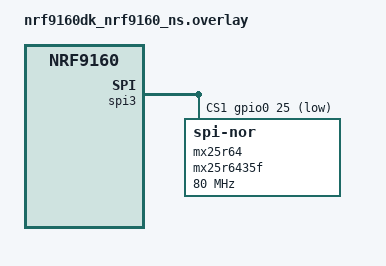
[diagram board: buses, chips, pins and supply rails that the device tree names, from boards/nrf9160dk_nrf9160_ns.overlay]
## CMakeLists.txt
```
#
# Copyright (c) 2021 Nordic Semiconductor ASA
#
# SPDX-License-Identifier: LicenseRef-Nordic-5-Clause
#

cmake_minimum_required(VERSION 3.13.1)

find_package(Zephyr REQUIRED HINTS $ENV{ZEPHYR_BASE})
project(full_modem_update)

# NORDIC SDK APP START
target_sources(app PRIVATE src/main.c)
target_sources(app PRIVATE ../common/src/update.c)
target_include_directories(app PRIVATE ../common/include)
# NORDIC SDK APP END
```

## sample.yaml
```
sample:
  name: HTTP full modem update sample
tests:
  sample.nrf9160.http_update.full_modem_update:
    build_only: true
    integration_platforms:
      - nrf9160dk_nrf9160_ns
    platform_allow: nrf9160dk_nrf9160_ns
    tags: ci_build
```

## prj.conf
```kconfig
#
# Copyright (c) 2021 Nordic Semiconductor ASA
#
# SPDX-License-Identifier: LicenseRef-Nordic-5-Clause
#
# General config
CONFIG_NCS_SAMPLES_DEFAULTS=y
CONFIG_REBOOT=y
CONFIG_NEWLIB_LIBC=y

# Network
CONFIG_NETWORKING=y
CONFIG_NET_SOCKETS=y
CONFIG_NET_NATIVE=n

# LTE link control
CONFIG_LTE_LINK_CONTROL=y

# libmodem
CONFIG_NRF_MODEM_LIB=y

# Library for buttons and LEDs
CONFIG_DK_LIBRARY=y

# Heap and stacks
CONFIG_HEAP_MEM_POOL_SIZE=2048
CONFIG_MAIN_STACK_SIZE=8192
CONFIG_SYSTEM_WORKQUEUE_STACK_SIZE=2048

# Shell configurations
CONFIG_SHELL=y
CONFIG_SHELL_WILDCARD=n
CONFIG_SHELL_CMD_BUFF_SIZE=128

# Stream flash
CONFIG_STREAM_FLASH=y
CONFIG_STREAM_FLASH_ERASE=y
CONFIG_FLASH=y

# GPIO
CONFIG_GPIO=y

# FOTA library
CONFIG_FOTA_DOWNLOAD=y

# Download client
CONFIG_DOWNLOAD_CLIENT=y
CONFIG_DOWNLOAD_CLIENT_STACK_SIZE=4096

# DFU Target
CONFIG_DFU_TARGET=y
CONFIG_DFU_TARGET_STREAM=y
CONFIG_DFU_TARGET_FULL_MODEM=y

# Full modem firmware from external flash support
CONFIG_FMFU_FDEV=y
CONFIG_ZCBOR=y

# Modem key management
CONFIG_MODEM_KEY_MGMT=y

# Modem info is used to read the current version
CONFIG_MODEM_INFO=y

# Crypto
CONFIG_OBERON_BACKEND=y
CONFIG_NORDIC_SECURITY_BACKEND=y
# Disable all non-used crypto
CONFIG_MBEDTLS_AES_C=n
CONFIG_MBEDTLS_CHACHA20_C=n
CONFIG_MBEDTLS_POLY1305_C=n
CONFIG_MBEDTLS_ECP_C=n
CONFIG_MBEDTLS_RSA_C=n
CONFIG_MBEDTLS_DHM_C=n
CONFIG_MBEDTLS_SHA1_C=n
CONFIG_MBEDTLS_SHA384_C=n
CONFIG_MBEDTLS_SHA512_C=n
CONFIG_MBEDTLS_GCM_C=n
# This is the one we need
CONFIG_MBEDTLS_SHA256_C=y

CONFIG_DOWNLOAD_HOST="nrfconnectsdk.s3.eu-central-1.amazonaws.com"
CONFIG_DOWNLOAD_MODEM_0_FILE="fmfu_1.3.0.cbor"
CONFIG_DOWNLOAD_MODEM_0_VERSION="mfw_nrf9160_1.3.0"

CONFIG_DOWNLOAD_MODEM_1_FILE="fmfu_1.3.1.cbor"

# Prevalidation is not yet supported by the modem firmware, so skip it for now.
CONFIG_FMFU_FDEV_SKIP_PREVALIDATION=y
```

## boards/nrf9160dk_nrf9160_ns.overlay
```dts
/*
 * Copyright (c) 2022 Nordic Semiconductor ASA
 *
 * SPDX-License-Identifier: LicenseRef-Nordic-5-Clause
 */

&spi3 {
	cs-gpios = <&arduino_header 16 GPIO_ACTIVE_LOW>, /* D10 */
		   <&gpio0 25 GPIO_ACTIVE_LOW>;
	mx25r64: mx25r6435f@1 {
		compatible = "jedec,spi-nor";
		reg = <1>;
		status = "okay";
		spi-max-frequency = <80000000>;
		jedec-id = [c2 28 17];
		size = <67108864>;
	};
};
```

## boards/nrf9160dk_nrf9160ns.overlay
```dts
/*
 * Copyright (c) 2021 Nordic Semiconductor ASA
 *
 * SPDX-License-Identifier: LicenseRef-Nordic-5-Clause
 */

&spi3 {
	compatible = "nordic,nrf-spim";
	status = "okay";
	sck-pin = <13>;
	mosi-pin = <11>;
	miso-pin = <12>;
	cs-gpios = <&gpio0 25 GPIO_ACTIVE_LOW>;
	mx25r64: mx25r6435f@0 {
		compatible = "jedec,spi-nor";
		reg = <0>;
		spi-max-frequency = <80000000>;
		label = "MX25R64";
		jedec-id = [c2 28 17];
		size = <67108864>;
	};
};
```

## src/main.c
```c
/*
 * Copyright (c) 2021 Nordic Semiconductor ASA
 *
 * SPDX-License-Identifier: LicenseRef-Nordic-5-Clause
 */

#include <zephyr/kernel.h>
#include <modem/nrf_modem_lib.h>
#include <dfu/dfu_target_full_modem.h>
#include <net/fota_download.h>
#include <zephyr/shell/shell.h>
#include <nrf_modem_bootloader.h>
#include <modem/modem_info.h>
#include <dfu/fmfu_fdev.h>
#include <zephyr/drivers/gpio.h>
#include <zephyr/device.h>
#include <zephyr/devicetree.h>
#include <stdio.h>
#include <string.h>
#include <update.h>

/* We assume that modem version strings (not UUID) will not be more than this */
#define MAX_MODEM_VERSION_LEN 256

static struct k_work fmfu_work;
static const struct gpio_dt_spec sw1 = GPIO_DT_SPEC_GET(DT_ALIAS(sw1), gpios);
static struct gpio_callback sw1_cb;
static const struct device *flash_dev = DEVICE_DT_GET_ONE(jedec_spi_nor);
static char modem_version[MAX_MODEM_VERSION_LEN];

/* Buffer used as temporary storage when downloading the modem firmware, and
 * when loading the modem firmware from external flash to the modem.
 */
#define FMFU_BUF_SIZE (0x1000)
static uint8_t fmfu_buf[FMFU_BUF_SIZE];

static void fmfu_button_irq_disable(void)
{
	gpio_pin_interrupt_configure_dt(&sw1, GPIO_INT_DISABLE);
}

static void fmfu_button_irq_enable(void)
{
	gpio_pin_interrupt_configure_dt(&sw1, GPIO_INT_EDGE_TO_ACTIVE);
}

void fmfu_button_pressed(const struct device *gpiob, struct gpio_callback *cb,
			 uint32_t pins)
{
	k_work_submit(&fmfu_work);
	fmfu_button_irq_disable();
}

static void apply_fmfu_from_ext_flash(bool valid_init)
{
	int err;

	printk("Applying full modem firmware update from external flash\n");

	if (valid_init) {
		err = nrf_modem_lib_shutdown();
		if (err != 0) {
			printk("nrf_modem_lib_shutdown() failed: %d\n", err);
			return;
		}
	}

	err = nrf_modem_lib_bootloader_init();
	if (err != 0) {
		printk("nrf_modem_lib_bootloader_init() failed: %d\n", err);
		return;
	}

	err = fmfu_fdev_load(fmfu_buf, sizeof(fmfu_buf), flash_dev, 0);
	if (err != 0) {
		printk("fmfu_fdev_load failed: %d\n", err);
		return;
	}

	err = nrf_modem_lib_shutdown();
	if (err != 0) {
		printk("nrf_modem_lib_shutdown() failed: %d\n", err);
		return;
	}

	err = nrf_modem_lib_init();
	if (err != 0) {
		printk("nrf_modem_lib_init() failed: %d\n", err);
		return;
	}

	printk("Modem firmware update completed.\n");
	printk("Press 'Reset' button or enter 'reset' to apply new firmware\n");
}

static void fmfu_work_cb(struct k_work *work)
{
	ARG_UNUSED(work);

	apply_fmfu_from_ext_flash(true);

	modem_info_string_get(MODEM_INFO_FW_VERSION, modem_version,
			      MODEM_INFO_MAX_RESPONSE_SIZE);
	printk("Current modem firmware version: %s\n", modem_version);
}

static int button_init(void)
{
	int err;

	if (!device_is_ready(sw1.port)) {
		printk("SW1 GPIO port not ready\n");
		return -ENODEV;
	}

	err = gpio_pin_configure_dt(&sw1, GPIO_INPUT);
	if (err < 0) {
		return err;
	}

	gpio_init_callback(&sw1_cb, fmfu_button_pressed, BIT(sw1.pin));
	err = gpio_add_callback(sw1.port, &sw1_cb);
	if (err < 0) {
		printk("Unable to configure SW1 GPIO pin!\n");
		return err;
	}

	fmfu_button_irq_enable();

	return 0;
}

static bool current_version_is_0(void)
{
	return strncmp(modem_version, CONFIG_DOWNLOAD_MODEM_0_VERSION,
		       strlen(CONFIG_DOWNLOAD_MODEM_0_VERSION)) == 0;
}

static const char *get_file(void)
{
	const char *file = CONFIG_DOWNLOAD_MODEM_0_FILE;

	if (current_version_is_0()) {
		file = CONFIG_DOWNLOAD_MODEM_1_FILE;
	}

	return file;
}

void fota_dl_handler(const struct fota_download_evt *evt)
{
	switch (evt->id) {
	case FOTA_DOWNLOAD_EVT_ERROR:
		printk("Received error from fota_download\n");
		/* Fallthrough */
	case FOTA_DOWNLOAD_EVT_FINISHED:
		apply_fmfu_from_ext_flash(true);
		break;

	default:
		break;
	}
}

void update_start(void)
{
	int err;

	/* Functions for getting the host and file */
	err = fota_download_start(CONFIG_DOWNLOAD_HOST, get_file(), SEC_TAG,
				  0, 0);
	if (err != 0) {
		update_sample_stop();
		printk("fota_download_start() failed, err %d\n", err);
	}
}

static int num_leds(void)
{
	return current_version_is_0() ? 1 : 2;
}

static int shell_flash(const struct shell *shell, size_t argc, char **argv)
{
	ARG_UNUSED(argc);
	ARG_UNUSED(argv);

	k_work_submit(&fmfu_work);
	fmfu_button_irq_disable();

	return 0;
}

SHELL_CMD_REGISTER(flash, NULL, "For rebooting device", shell_flash);

int main(void)
{
	int err;

	printk("HTTP full modem update sample started\n");

	if (!device_is_ready(flash_dev)) {
		printk("Flash device %s not ready\n", flash_dev->name);
		return 0;
	}

	err = nrf_modem_lib_init();
	if (err) {
		printk("Failed to initialize modem lib, err: %d\n", err);
		printk("This could indicate that an earlier update failed\n");
		printk("Trying to apply modem update from ext flash\n");
		apply_fmfu_from_ext_flash(false);
	}

	k_work_init(&fmfu_work, fmfu_work_cb);

	err = button_init();
	if (err != 0) {
		printk("button_init() failed: %d\n", err);
		return 0;
	}

	err = fota_download_init(fota_dl_handler);
	if (err != 0) {
		printk("fota_download_init() failed, err %d\n", err);
		return 0;
	}

	const struct dfu_target_full_modem_params params = {
		.buf = fmfu_buf,
		.len = sizeof(fmfu_buf),
		.dev = &(struct dfu_target_fmfu_fdev){ .dev = flash_dev,
						       .offset = 0,
						       .size = 0 }
	};

	err = dfu_target_full_modem_cfg(&params);
	if (err != 0) {
		printk("dfu_target_full_modem_cfg failed: %d\n", err);
		return 0;
	}

	err = modem_info_init();
	if (err != 0) {
		printk("modem_info_init failed: %d\n", err);
		return 0;
	}

	modem_info_string_get(MODEM_INFO_FW_VERSION, modem_version,
			      MODEM_INFO_MAX_RESPONSE_SIZE);
	printk("Current modem firmware version: %s\n", modem_version);

	err = update_sample_init(&(struct update_sample_init_params){
					.update_start = update_start,
					.num_leds = num_leds(),
					.filename = get_file()
				});
	if (err != 0) {
		printk("update_sample_init() failed, err %d\n", err);
		return 0;
	}

	printk("Press Button 1 or enter 'download' to download firmware update\n");
	printk("Press Button 2 or enter 'flash' to apply modem firmware update from flash\n");

	return 0;
}
```
